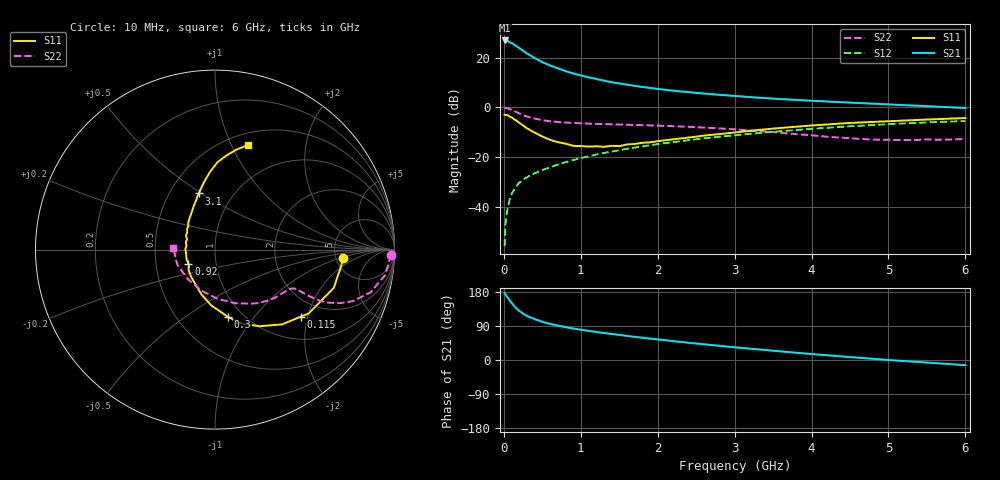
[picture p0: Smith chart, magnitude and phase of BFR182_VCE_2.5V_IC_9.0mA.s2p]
! Infineon Technologies  Discrete & RF Semiconductors
! BFR182
! VCE =  2.5 V,  IC =  9.0 mA
! Common Emitter S-Parameters:  Nov 2015
# GHz  S  MA  R  50
!  f  S11  S21  S12  S22
! GHz  MAG  ANG  MAG  ANG  MAG  ANG  MAG  ANG
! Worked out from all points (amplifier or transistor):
!   210 points, 10 MHz to 6 GHz, reference 50 ohm
!   highest |S21| = 27.0 dB at 10 MHz (marker M1)
!   |S21| within 3 dB of that: start of sweep to 196.3 MHz
!   unconditionally stable (mu >= 1): 811.7 MHz to 2.677 GHz
!   at 185 MHz: K = 0.49, MSG = 27.6 dB, |S12| = -30.9 dB
!   at 1.52 GHz: K = 1.06, MAG = 11.9 dB, |S12| = -17.1 dB
!   at 6 GHz: K = 0.89, MSG = 2.6 dB, |S12| = -5.5 dB
!   S11 on the Smith chart (normalised r, x): 10 MHz: 5.75, -1.11; 115 MHz: 1.53, -1.81; 300 MHz: 0.85, -0.74; 920 MHz: 0.73, -0.12; 3.1 GHz: 0.69, +0.49; 6 GHz: 0.62, +1.16
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0.01  0.713 -3.8  22.38 176.7  0.0016 87.9  0.9826 -1.7
0.02  0.7094 -7.3  22.22 173.4  0.0042 83.6  0.9741 -3.4
0.05  0.6951 -17.9  21.7 164.4  0.0094 80.5  0.9591 -8.4
0.1  0.6314 -34.3  19.99 150.7  0.0178 75.0  0.8999 -15.3
0.115  0.6064 -38.1  19.24 147.3  0.0198 73.1  0.8759 -16.7
0.15  0.5597 -48.1  17.79 138.5  0.0244 69.8  0.8224 -20.4
0.2  0.4935 -59.9  15.7 129.6  0.0302 67.1  0.7575 -23.2
0.24  0.444 -68.7  14.19 123.6  0.034 65.8  0.7122 -24.6
0.26  0.4222 -72.7  13.51 120.8  0.0358 65.5  0.6918 -25.2
0.3  0.3803 -79.3  12.26 116.0  0.0392 65.4  0.6552 -25.9
0.4  0.3113 -93.9  9.887 107.8  0.047 65.0  0.5943 -26.3
0.5  0.2597 -107.2  8.163 100.6  0.0546 65.6  0.5537 -26.2
0.6  0.2232 -119.3  6.996 95.2  0.0623 66.2  0.5261 -26.0
0.7  0.2003 -132.0  6.105 90.6  0.0705 67.3  0.508 -25.9
0.92  0.1675 -152.2  4.741 82.4  0.0887 67.4  0.4852 -26.5
1.02  0.1659 -163.5  4.328 79.2  0.0967 67.4  0.4773 -27.0
1.4  0.1685 164.8  3.225 68.6  0.1287 66.7  0.4572 -30.4
2.02  0.2113 134.7  2.341 53.8  0.1837 63.0  0.4295 -38.4
3.1  0.3256 106.1  1.654 31.8  0.2843 53.6  0.3523 -58.7
4.1  0.4432 92.6  1.339 14.1  0.3792 42.7  0.2655 -90.7
5.1  0.5369 81.9  1.133 -1.4  0.4684 30.4  0.2206 -137.9
6  0.6112 72.4  0.975 -13.6  0.5318 17.9  0.2319 177.7
